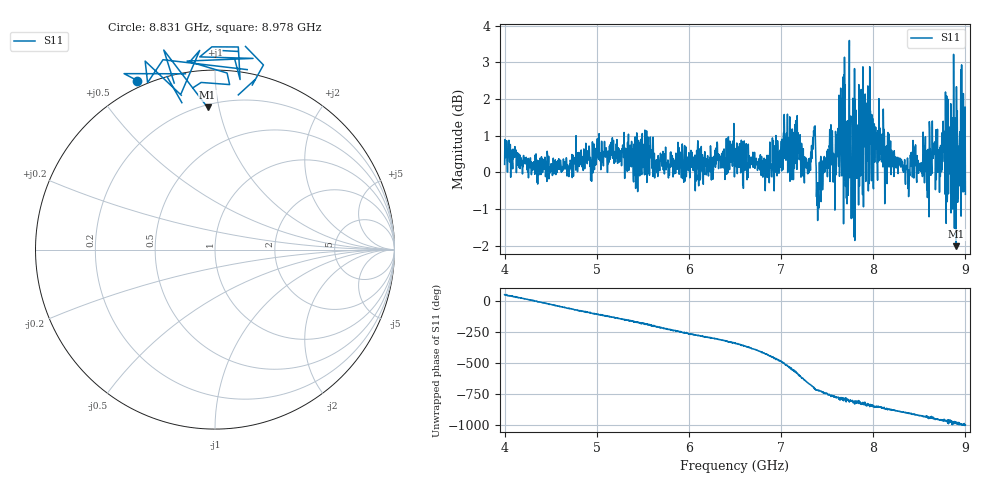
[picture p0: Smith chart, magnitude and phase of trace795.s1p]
! Created with skrf 1.8.0 (http://scikit-rf.org).
# Hz S RI R 50.0
!freq ReS11 ImS11
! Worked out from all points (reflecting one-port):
!   1601 points, 4 GHz to 9 GHz, reference 50 ohm
!   lowest |S11| = -2.0 dB at 8.9 GHz (marker M1), VSWR 8.67, Z = 10.8 + j46.3 ohm
!   phase of S11 starts at 50 deg and turns -1052 deg over the sweep
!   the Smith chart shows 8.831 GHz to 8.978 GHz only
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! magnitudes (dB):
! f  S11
! 4 GHz  0.2
! 4.625 GHz  0.0
! 5.25 GHz  0.5
! 5.875 GHz  0.4
! 6.5 GHz  0.5
! 6.806 GHz  0.3
! 6.997 GHz  0.2
! 7.05 GHz  0.8
! 7.125 GHz  0.3
! 7.172 GHz  0.1
! 7.269 GHz  0.4
! 7.353 GHz  1.1
! 7.409 GHz  -1.0
! 7.531 GHz  -0.2
! 7.591 GHz  1.1
! 7.669 GHz  1.3
! 7.703 GHz  0.1
! 7.75 GHz  0.7
! 7.784 GHz  -0.8
! 7.822 GHz  -0.2
! 7.962 GHz  2.9
! 8.022 GHz  0.8
! 8.088 GHz  0.7
! 8.375 GHz  0.2
! 8.85 GHz  0.0
! 8.9 GHz  -2.0
! 8.972 GHz  0.5
! 9 GHz  -0.6
